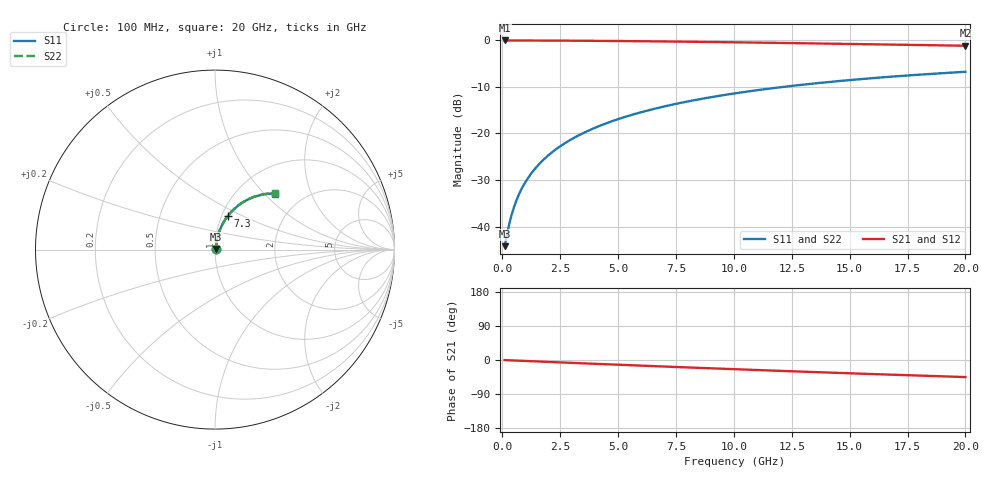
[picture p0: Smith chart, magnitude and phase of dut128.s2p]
! Touchstone file exported from HFSS 2026.1.0
!  File:  C:/ffzhzh/LocalFiles/Ansys_Project_Files/temp_train_BSMRDL_128_1782986160_45328.aedt
!  Generated:  05:57:18 PM Jul  2, 2026
!  Design:  BSMRDL
!  Project:  temp_train_BSMRDL_128_1782986160_45328
! Variables:
!  h_bsmrdl = 4um
!  h_ox = 20um
!  h_rdl = 5um
!  h_sub = 80um
!  h_tmrdl = 5um
!  h_tsv = 80um
!  h_via = 3um
!  l_bsmrdl = 649.84um
!  l_sub = 1049.84um
!  l_tmrdl = 200um
!  m_sub = 200um
!  pitch = 35.11um
!  r_tsv = 6um
!  s_tmrdl = 10um
!  w_bsmrdl = 10.7um
!  w_sub = 500um
!  w_tmrdl = 12um
!  x_tsv_center1 = 206um
!  x_tsv_center2 = 866.54um
!  x_tsv_center3 = 1078.54um
!  x_tsv_center4 = 1739.08um
!  x_tsv_center5 = 1951.08um
!  x_tsv_center6 = 2611.62um
# GHz S MA R 50.000000
! Terminal data exported
! Port[1] = BSM_RDL1_1_T1
! Port[2] = BSM_RDL1_1_T2
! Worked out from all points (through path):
!   200 points, 100 MHz to 20 GHz, reference 50 ohm
!   highest |S21| = -0.05 dB at 100 MHz (marker M1); lowest = -1.2 dB at 20 GHz (marker M2)
!   group delay of S21, straight-line fit = 6.26 ps
!   lowest |S11| = -44.2 dB at 100 MHz (marker M3), VSWR 1.01, Z = 50.5 + j0.307 ohm
!   |S11| at or under -10 dB: start of sweep to 12.14 GHz
!   |S22| runs from -44.2 to -6.8 dB; largest |S21 - S12| = 3.4e-15
!   S11 on the Smith chart (normalised r, x): 100 MHz: 1.01, +0.01; 7.3 GHz: 1.07, +0.42; 20 GHz: 1.47, +1.16
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0.1  0.006192 29.4  0.9946 -0.3  0.9946 -0.3  0.006192 29.4
! Gamma 0 0 0 0
! Port Impedance 50 0 50 0
0.3  0.01067 57.9  0.9944 -0.8  0.9944 -0.8  0.01067 57.9
0.4  0.01335 63.9  0.9943 -1.0  0.9943 -1.0  0.01334 63.9
0.5  0.0161 67.8  0.9941 -1.3  0.9941 -1.3  0.0161 67.8
0.6  0.01889 70.4  0.994 -1.5  0.994 -1.5  0.01889 70.4
0.7  0.0217 72.3  0.9939 -1.8  0.9939 -1.8  0.0217 72.3
0.9  0.02735 74.8  0.9936 -2.3  0.9936 -2.3  0.02735 74.9
1.2  0.03587 76.9  0.9931 -3.1  0.9931 -3.1  0.03587 76.9
1.4  0.04157 77.6  0.9928 -3.6  0.9928 -3.6  0.04157 77.6
1.7  0.05014 78.2  0.9923 -4.3  0.9923 -4.3  0.05014 78.2
2.2  0.06441 78.4  0.9912 -5.6  0.9912 -5.6  0.0644 78.4
2.8  0.08146 77.9  0.9896 -7.1  0.9896 -7.1  0.08145 77.9
3.5  0.1012 76.9  0.9873 -8.8  0.9873 -8.8  0.1012 76.9
4.2  0.1206 75.6  0.9846 -10.5  0.9846 -10.5  0.1206 75.6
5  0.1425 74.0  0.9811 -12.5  0.9811 -12.5  0.1425 74.0
6.8  0.1901 70.1  0.9716 -16.8  0.9716 -16.8  0.1901 70.1
7.3  0.2029 69.0  0.9686 -18.0  0.9686 -18.0  0.2029 69.0
8.6  0.2352 66.1  0.9604 -21.0  0.9604 -21.0  0.2352 66.2
10.1  0.2707 62.8  0.95 -24.5  0.95 -24.5  0.2707 62.9
13.4  0.3424 55.8  0.9252 -31.7  0.9252 -31.7  0.3424 56.0
16.7  0.405 49.2  0.899 -38.6  0.899 -38.6  0.405 49.4
20  0.4586 42.9  0.8727 -45.0  0.8727 -45.0  0.4586 43.1
